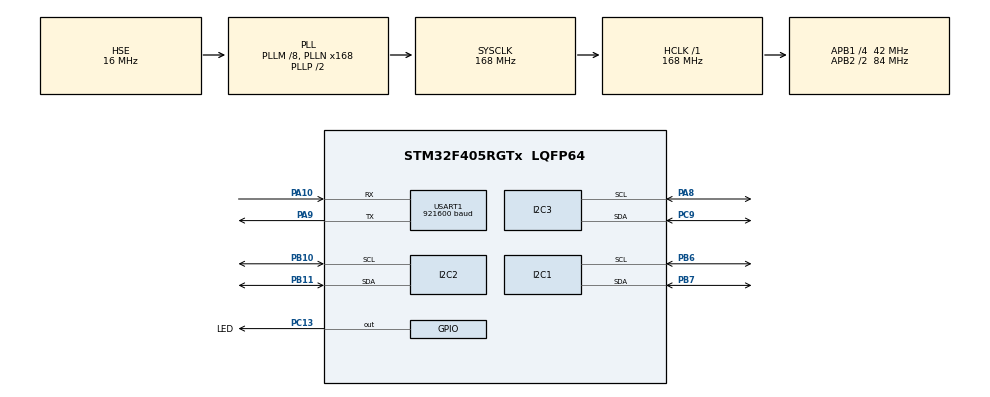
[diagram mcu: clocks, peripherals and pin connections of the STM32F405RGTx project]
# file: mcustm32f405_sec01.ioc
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I2C1.I2C_Mode=I2C_Fast
I2C2.I2C_Mode=I2C_Standard
I2C3.I2C_Mode=I2C_Standard
Mcu.Family=STM32F4
Mcu.Name=STM32F405RGTx
Mcu.Package=LQFP64
NVIC.PriorityGroup=NVIC_PRIORITYGROUP_4
PA10.Mode=Asynchronous
PA10.Signal=USART1_RX
PA13.Mode=Trace_Asynchronous_SW
PA13.Signal=SYS_JTMS-SWDIO
PA14.Mode=Trace_Asynchronous_SW
PA14.Signal=SYS_JTCK-SWCLK
PA8.GPIO_Pu=GPIO_PULLUP
PA8.Mode=I2C
PA8.Signal=I2C3_SCL
PA9.Mode=Asynchronous
PA9.Signal=USART1_TX
PB10.GPIO_Pu=GPIO_PULLUP
PB10.Mode=I2C
PB10.Signal=I2C2_SCL
PB11.GPIO_Pu=GPIO_PULLUP
PB11.Mode=I2C
PB11.Signal=I2C2_SDA
PB3.Mode=Trace_Asynchronous_SW
PB3.Signal=SYS_JTDO-SWO
PB6.GPIO_Pu=GPIO_PULLUP
PB6.Mode=I2C
PB6.Signal=I2C1_SCL
PB7.GPIO_Pu=GPIO_PULLUP
PB7.Mode=I2C
PB7.Signal=I2C1_SDA
PC13-ANTI_TAMP.GPIO_Label=LED
PC13-ANTI_TAMP.Signal=GPIO_Output
PC9.GPIO_Pu=GPIO_PULLUP
PC9.Mode=I2C
PC9.Signal=I2C3_SDA
PH0-OSC_IN.Mode=HSE-External-Oscillator
PH0-OSC_IN.Signal=RCC_OSC_IN
PH1-OSC_OUT.Mode=HSE-External-Oscillator
PH1-OSC_OUT.Signal=RCC_OSC_OUT
ProjectManager.HeapSize=0x200
ProjectManager.StackSize=0x400
ProjectManager.TargetToolchain=STM32CubeIDE
RCC.48MHZClocksFreq_Value=84000000
RCC.AHBFreq_Value=168000000
RCC.APB1CLKDivider=RCC_HCLK_DIV4
RCC.APB1Freq_Value=42000000
RCC.APB1TimFreq_Value=84000000
RCC.APB2CLKDivider=RCC_HCLK_DIV2
RCC.APB2Freq_Value=84000000
RCC.APB2TimFreq_Value=168000000
RCC.CortexFreq_Value=168000000
RCC.HCLKFreq_Value=168000000
RCC.HSE_VALUE=16000000
RCC.HSI_VALUE=16000000
RCC.LSE_VALUE=32768
RCC.PLLM=8
RCC.PLLN=168
RCC.PLLSourceVirtual=RCC_PLLSOURCE_HSE
RCC.SYSCLKFreq_VALUE=168000000
RCC.SYSCLKSource=RCC_SYSCLKSOURCE_PLLCLK
RCC.VCOOutputFreq_Value=336000000
USART1.BaudRate=921600
USART1.VirtualMode=VM_ASYNC
board=custom

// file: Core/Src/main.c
/* USER CODE BEGIN Header */
/**
  ******************************************************************************
  * @file           : main.c
  * @brief          : Main program body
  ******************************************************************************
  * @attention
  *
  * Copyright (c) 2024 STMicroelectronics.
  * All rights reserved.
  *
  * This software is licensed under terms that can be found in the LICENSE file
  * in the root directory of this software component.
  * If no LICENSE file comes with this software, it is provided AS-IS.
  *
  ******************************************************************************
  */
/* USER CODE END Header */
#include "main.h"

I2C_HandleTypeDef hi2c1;
I2C_HandleTypeDef hi2c2;
I2C_HandleTypeDef hi2c3;

UART_HandleTypeDef huart1;

void SystemClock_Config(void);
static void MX_GPIO_Init(void);
static void MX_I2C1_Init(void);
static void MX_I2C2_Init(void);
static void MX_I2C3_Init(void);
static void MX_USART1_UART_Init(void);

/* USER CODE BEGIN 0 */

// Send printf to uart1
int _write(int fd, char *ptr, int len) {
    HAL_StatusTypeDef hstatus;

    if (fd == 1 || fd == 2) {
        hstatus = HAL_UART_Transmit(&huart1, (uint8_t*) ptr, len,
        HAL_MAX_DELAY);
        if (hstatus == HAL_OK)
            return len;
        else
            return -1;
    }
    return -1;
}

/* USER CODE END 0 */

int main(void)
{

  /* MCU Configuration--------------------------------------------------------*/

  /* Reset of all peripherals, Initializes the Flash interface and the Systick. */
  HAL_Init();

  /* Configure the system clock */
  SystemClock_Config();

  /* Initialize all configured peripherals */
  MX_GPIO_Init();
  MX_I2C1_Init();
  MX_I2C2_Init();
  MX_I2C3_Init();
  MX_USART1_UART_Init();
  /* USER CODE BEGIN 2 */

  DBG("\n\n\n\n--------\nStarting\n");

  uint8_t txdata[32] = {0};

  HAL_I2C_Master_Transmit(&hi2c2, 0x00, txdata, 32, 100);
  HAL_I2C_Master_Transmit(&hi2c3, 0x00, txdata, 32, 100);

  DBG("Scanning I2C bus i2c1:\n");
  // Go through all possible i2c addresses
  for (uint8_t i = 0; i < 128; i++) {

      if (HAL_I2C_IsDeviceReady(&hi2c1, (uint16_t) (i << 1), 3, 100) == HAL_OK) {
          // We got an ack
          printf("%2x ", i);
      } else {
          printf("-- ");
      }

      if (i > 0 && (i + 1) % 16 == 0)
          printf("\n");

  }

  printf("\n");

  DBG("Scanning I2C bus i2c2:\n");
  // Go through all possible i2c addresses
  for (uint8_t i = 0; i < 128; i++) {

      if (HAL_I2C_IsDeviceReady(&hi2c2, (uint16_t) (i << 1), 3, 100) == HAL_OK) {
          // We got an ack
          printf("%2x ", i);
      } else {
          printf("-- ");
      }

      if (i > 0 && (i + 1) % 16 == 0)
          printf("\n");

  }

  printf("\n");

  DBG("Scanning I2C bus i2c3:\n");
  // Go through all possible i2c addresses
  for (uint8_t i = 0; i < 128; i++) {

      if (HAL_I2C_IsDeviceReady(&hi2c3, (uint16_t) (i << 1), 3, 100) == HAL_OK) {
          // We got an ack
          printf("%2x ", i);
      } else {
          printf("-- ");
      }

      if (i > 0 && (i + 1) % 16 == 0)
          printf("\n");

  }

  printf("\n");

  /* USER CODE END 2 */

  /* Infinite loop */
  while (1)
  {

  }
}

void SystemClock_Config(void)
{
  RCC_OscInitTypeDef RCC_OscInitStruct = {0};
  RCC_ClkInitTypeDef RCC_ClkInitStruct = {0};

  /** Configure the main internal regulator output voltage
  */
  __HAL_RCC_PWR_CLK_ENABLE();
  __HAL_PWR_VOLTAGESCALING_CONFIG(PWR_REGULATOR_VOLTAGE_SCALE1);

  /** Initializes the RCC Oscillators according to the specified parameters
  * in the RCC_OscInitTypeDef structure.
  */
  RCC_OscInitStruct.OscillatorType = RCC_OSCILLATORTYPE_HSE;
  RCC_OscInitStruct.HSEState = RCC_HSE_ON;
  RCC_OscInitStruct.PLL.PLLState = RCC_PLL_ON;
  RCC_OscInitStruct.PLL.PLLSource = RCC_PLLSOURCE_HSE;
  RCC_OscInitStruct.PLL.PLLM = 8;
  RCC_OscInitStruct.PLL.PLLN = 168;
  RCC_OscInitStruct.PLL.PLLP = RCC_PLLP_DIV2;
  RCC_OscInitStruct.PLL.PLLQ = 4;
  if (HAL_RCC_OscConfig(&RCC_OscInitStruct) != HAL_OK)
  {
    Error_Handler();
  }

  /** Initializes the CPU, AHB and APB buses clocks
  */
  RCC_ClkInitStruct.ClockType = RCC_CLOCKTYPE_HCLK|RCC_CLOCKTYPE_SYSCLK
                              |RCC_CLOCKTYPE_PCLK1|RCC_CLOCKTYPE_PCLK2;
  RCC_ClkInitStruct.SYSCLKSource = RCC_SYSCLKSOURCE_PLLCLK;
  RCC_ClkInitStruct.AHBCLKDivider = RCC_SYSCLK_DIV1;
  RCC_ClkInitStruct.APB1CLKDivider = RCC_HCLK_DIV4;
  RCC_ClkInitStruct.APB2CLKDivider = RCC_HCLK_DIV2;

  if (HAL_RCC_ClockConfig(&RCC_ClkInitStruct, FLASH_LATENCY_5) != HAL_OK)
  {
    Error_Handler();
  }
}

static void MX_I2C1_Init(void)
{

  hi2c1.Instance = I2C1;
  hi2c1.Init.ClockSpeed = 400000;
  hi2c1.Init.DutyCycle = I2C_DUTYCYCLE_2;
  hi2c1.Init.OwnAddress1 = 0;
  hi2c1.Init.AddressingMode = I2C_ADDRESSINGMODE_7BIT;
  hi2c1.Init.DualAddressMode = I2C_DUALADDRESS_DISABLE;
  hi2c1.Init.OwnAddress2 = 0;
  hi2c1.Init.GeneralCallMode = I2C_GENERALCALL_DISABLE;
  hi2c1.Init.NoStretchMode = I2C_NOSTRETCH_DISABLE;
  if (HAL_I2C_Init(&hi2c1) != HAL_OK)
  {
    Error_Handler();
  }

}

static void MX_I2C2_Init(void)
{

  hi2c2.Instance = I2C2;
  hi2c2.Init.ClockSpeed = 100000;
  hi2c2.Init.DutyCycle = I2C_DUTYCYCLE_2;
  hi2c2.Init.OwnAddress1 = 0;
  hi2c2.Init.AddressingMode = I2C_ADDRESSINGMODE_7BIT;
  hi2c2.Init.DualAddressMode = I2C_DUALADDRESS_DISABLE;
  hi2c2.Init.OwnAddress2 = 0;
  hi2c2.Init.GeneralCallMode = I2C_GENERALCALL_DISABLE;
  hi2c2.Init.NoStretchMode = I2C_NOSTRETCH_DISABLE;
  if (HAL_I2C_Init(&hi2c2) != HAL_OK)
  {
    Error_Handler();
  }

}

static void MX_I2C3_Init(void)
{

  hi2c3.Instance = I2C3;
  hi2c3.Init.ClockSpeed = 100000;
  hi2c3.Init.DutyCycle = I2C_DUTYCYCLE_2;
  hi2c3.Init.OwnAddress1 = 0;
  hi2c3.Init.AddressingMode = I2C_ADDRESSINGMODE_7BIT;
  hi2c3.Init.DualAddressMode = I2C_DUALADDRESS_DISABLE;
  hi2c3.Init.OwnAddress2 = 0;
  hi2c3.Init.GeneralCallMode = I2C_GENERALCALL_DISABLE;
  hi2c3.Init.NoStretchMode = I2C_NOSTRETCH_DISABLE;
  if (HAL_I2C_Init(&hi2c3) != HAL_OK)
  {
    Error_Handler();
  }

}

static void MX_USART1_UART_Init(void)
{

  huart1.Instance = USART1;
  huart1.Init.BaudRate = 921600;
  huart1.Init.WordLength = UART_WORDLENGTH_8B;
  huart1.Init.StopBits = UART_STOPBITS_1;
  huart1.Init.Parity = UART_PARITY_NONE;
  huart1.Init.Mode = UART_MODE_TX_RX;
  huart1.Init.HwFlowCtl = UART_HWCONTROL_NONE;
  huart1.Init.OverSampling = UART_OVERSAMPLING_16;
  if (HAL_UART_Init(&huart1) != HAL_OK)
  {
    Error_Handler();
  }

}

static void MX_GPIO_Init(void)
{
  GPIO_InitTypeDef GPIO_InitStruct = {0};

  /* GPIO Ports Clock Enable */
  __HAL_RCC_GPIOC_CLK_ENABLE();
  __HAL_RCC_GPIOH_CLK_ENABLE();
  __HAL_RCC_GPIOB_CLK_ENABLE();
  __HAL_RCC_GPIOA_CLK_ENABLE();

  /*Configure GPIO pin Output Level */
  HAL_GPIO_WritePin(LED_GPIO_Port, LED_Pin, GPIO_PIN_RESET);

  /*Configure GPIO pin : LED_Pin */
  GPIO_InitStruct.Pin = LED_Pin;
  GPIO_InitStruct.Mode = GPIO_MODE_OUTPUT_PP;
  GPIO_InitStruct.Pull = GPIO_NOPULL;
  GPIO_InitStruct.Speed = GPIO_SPEED_FREQ_LOW;
  HAL_GPIO_Init(LED_GPIO_Port, &GPIO_InitStruct);

}

void Error_Handler(void)
{
  __disable_irq();
  while (1)
  {
  }
}
